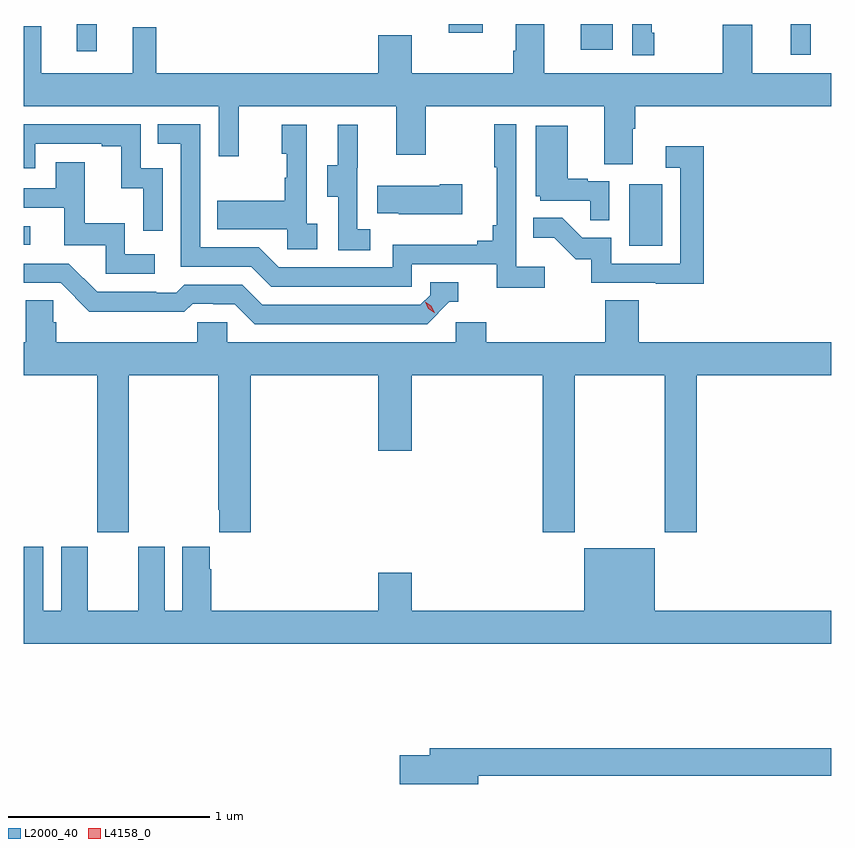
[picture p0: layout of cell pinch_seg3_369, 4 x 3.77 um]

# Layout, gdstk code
import gdstk
lib = gdstk.Library(unit=1e-6, precision=1e-09)
def R(c, l, rs):  # rectangles x0, y0, x1, y1
    for r in rs: c.add(gdstk.rectangle(r[:2], r[2:], *l))
def P(c, l, *ps):  # polygons
    for p in ps: c.add(gdstk.Polygon(p, *l))
L2000_40 = (2000, 40)
L4158_0 = (4158, 0)

pinch_seg3_369 = lib.new_cell('pinch_seg3_369')
R(pinch_seg3_369, L2000_40, [(993.422,706.884,993.586,707.191), (990.423,706.89,990.454,706.983), (994.223,707.832,994.321,707.984), (990.686,707.85,990.783,707.984), (993.182,707.856,993.34,707.984), (992.528,707.94,992.698,707.984)])
P(pinch_seg3_369, L2000_40, [(993.439,707.464),(993.452,707.464),(993.452,707.576),(994.423,707.576),(994.423,707.74),(994.033,707.74),(994.033,707.98),(993.886,707.98),(993.886,707.74),(993.001,707.74),(993.001,707.984),(992.861,707.984),(992.861,707.852),(992.849,707.852),(992.849,707.74),(992.344,707.74),(992.344,707.929),(992.18,707.929),(992.18,707.74),(991.079,707.74),(991.079,707.968),(990.962,707.968),(990.962,707.74),(990.509,707.74),(990.509,707.974),(990.423,707.974),(990.423,707.576),(991.389,707.576),(991.389,707.328),(991.487,707.328),(991.487,707.576),(992.267,707.576),(992.267,707.337),(992.415,707.337),(992.415,707.576),(993.299,707.576),(993.299,707.29),(993.439,707.29)],
  [(993.547,707.941),(993.534,707.941),(993.534,707.984),(993.438,707.984),(993.438,707.829),(993.547,707.829)],
  [(993.004,706.78),(992.862,706.78),(992.862,707.488),(992.754,707.488),(992.754,707.275),(992.765,707.275),(992.765,706.987),(992.746,706.987),(992.746,706.91),(992.669,706.91),(992.669,706.891),(992.25,706.891),(992.25,706.779),(991.686,706.779),(991.587,706.878),(991.296,706.878),(991.296,707.487),(991.087,707.487),(991.087,707.391),(991.2,707.391),(991.2,706.782),(991.55,706.782),(991.649,706.683),(992.346,706.683),(992.346,706.794),(992.765,706.794),(992.765,706.678),(993.004,706.678)],
  [(991.11,707.268),(991.002,707.268),(991.002,707.487),(990.423,707.487),(990.423,707.268),(990.48,707.268),(990.48,707.391),(990.809,707.391),(990.809,707.379),(990.905,707.379),(990.905,707.171),(991.014,707.171),(991.014,706.959),(991.11,706.959)],
  [(991.876,706.994),(991.824,706.994),(991.824,707.485),(991.7,707.485),(991.7,707.34),(991.726,707.34),(991.726,707.222),(991.716,707.222),(991.716,707.107),(991.381,707.107),(991.381,706.967),(991.728,706.967),(991.728,706.869),(991.876,706.869)],
  [(992.14,706.967),(992.076,706.967),(992.076,707.271),(992.078,707.271),(992.078,707.485),(991.979,707.485),(991.979,707.283),(991.925,707.283),(991.925,707.128),(991.98,707.128),(991.98,706.864),(992.14,706.864)],
  [(993.324,707.205),(993.218,707.205),(993.218,707.218),(993.118,707.218),(993.118,707.479),(992.96,707.479),(992.96,707.13),(992.982,707.13),(992.982,707.109),(993.229,707.109),(993.229,707.011),(993.324,707.011)],
  [(993.791,707.377),(993.603,707.377),(993.603,707.271),(993.675,707.271),(993.675,706.797),(993.333,706.797),(993.333,706.926),(993.189,706.926),(993.091,707.024),(992.947,707.024),(992.947,706.925),(993.051,706.925),(993.158,706.818),(993.235,706.818),(993.235,706.701),(993.553,706.701),(993.553,706.696),(993.791,706.696)],
  [(991.072,706.842),(990.924,706.842),(990.924,706.996),(990.725,706.996),(990.725,707.299),(990.581,707.299),(990.581,707.169),(990.423,707.169),(990.423,707.073),(990.623,707.073),(990.623,706.887),(990.828,706.887),(990.828,706.746),(991.072,706.746)],
  [(992.596,707.19),(992.483,707.19),(992.483,707.182),(992.173,707.182),(992.173,707.045),(992.281,707.045),(992.281,707.042),(992.596,707.042)],
  [(992.532,706.608),(992.575,706.608),(992.575,706.704),(992.436,706.704),(992.436,706.641),(992.388,706.593),(991.605,706.593),(991.506,706.692),(991.217,706.692),(991.178,706.653),(991.079,706.653),(991.079,706.656),(990.786,706.656),(990.645,706.797),(990.423,706.797),(990.423,706.701),(990.606,706.701),(990.748,706.559),(990.984,706.559),(990.984,706.557),(991.217,706.557),(991.259,706.599),(991.362,706.599),(991.362,706.596),(991.469,706.596),(991.568,706.497),(992.421,706.497)],
  [(990.942,706.244),(991.387,706.244),(991.387,705.577),(991.391,705.577),(991.391,705.465),(991.547,705.465),(991.547,706.244),(992.18,706.244),(992.18,705.87),(992.344,705.87),(992.344,706.244),(992.993,706.244),(992.993,705.465),(993.153,705.465),(993.153,706.244),(993.598,706.244),(993.598,705.465),(993.758,705.465),(993.758,706.244),(994.423,706.244),(994.423,706.408),(993.47,706.408),(993.47,706.616),(993.305,706.616),(993.305,706.408),(992.714,706.408),(992.714,706.506),(992.562,706.506),(992.562,706.408),(991.431,706.408),(991.431,706.506),(991.281,706.506),(991.281,706.408),(990.584,706.408),(990.584,706.506),(990.569,706.506),(990.569,706.616),(990.432,706.616),(990.432,706.408),(990.423,706.408),(990.423,706.244),(990.787,706.244),(990.787,705.465),(990.942,705.465)],
  [(990.608,705.394),(990.608,705.076),(990.52,705.076),(990.52,705.394),(990.423,705.394),(990.423,704.912),(994.423,704.912),(994.423,705.076),(993.55,705.076),(993.55,705.385),(993.2,705.385),(993.2,705.076),(992.344,705.076),(992.344,705.265),(992.18,705.265),(992.18,705.076),(991.352,705.076),(991.352,705.281),(991.345,705.281),(991.345,705.394),(991.208,705.394),(991.208,705.076),(991.12,705.076),(991.12,705.394),(990.989,705.394),(990.989,705.076),(990.739,705.076),(990.739,705.394)],
  [(992.674,704.26),(994.423,704.26),(994.423,704.396),(992.435,704.396),(992.435,704.36),(992.286,704.36),(992.286,704.218),(992.674,704.218)])
P(pinch_seg3_369, L4158_0, [(992.457,706.553),(992.427,706.574),(992.412,706.607),(992.412,706.607),(992.412,706.607),(992.442,706.587),(992.458,706.554),(992.458,706.553)])

lib.write_gds('pinch_seg3_369.gds')
